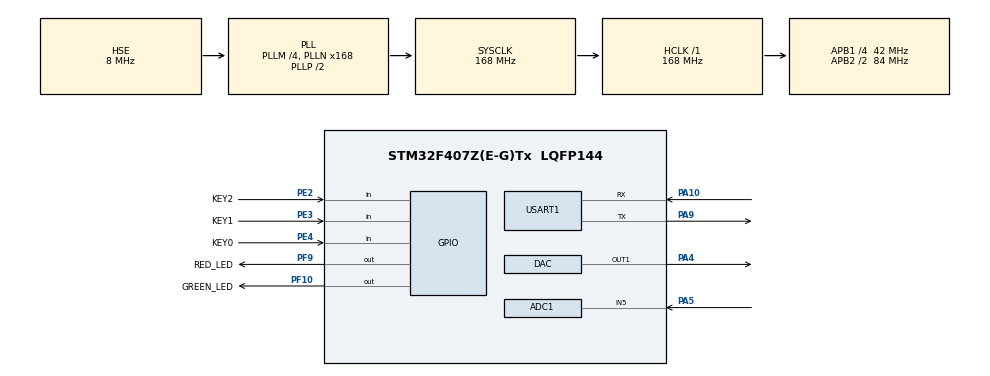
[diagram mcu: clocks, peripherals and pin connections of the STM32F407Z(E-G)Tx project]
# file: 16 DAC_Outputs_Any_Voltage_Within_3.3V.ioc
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ADC1.Channel-0\#ChannelRegularConversion=ADC_CHANNEL_5
ADC1.ExternalTrigConv=ADC_EXTERNALTRIGCONV_T3_TRGO
ADC1.NbrOfConversionFlag=1
ADC1.Rank-0\#ChannelRegularConversion=1
ADC1.SamplingTime-0\#ChannelRegularConversion=ADC_SAMPLETIME_15CYCLES
ADC1.master=1
DAC.DAC_Trigger=DAC_TRIGGER_NONE
Mcu.Family=STM32F4
Mcu.Name=STM32F407Z(E-G)Tx
Mcu.Package=LQFP144
NVIC.ADC_IRQn=true\:0\:0\:false\:false\:true\:true\:true\:true
NVIC.PriorityGroup=NVIC_PRIORITYGROUP_4
PA10.Mode=Asynchronous
PA10.Signal=USART1_RX
PA13.Mode=Serial_Wire
PA13.Signal=SYS_JTMS-SWDIO
PA14.Mode=Serial_Wire
PA14.Signal=SYS_JTCK-SWCLK
PA4.Signal=COMP_DAC1_group
PA5.Signal=ADCx_IN5
PA9.Mode=Asynchronous
PA9.Signal=USART1_TX
PC14-OSC32_IN.Mode=LSE-External-Oscillator
PC14-OSC32_IN.Signal=RCC_OSC32_IN
PC15-OSC32_OUT.Mode=LSE-External-Oscillator
PC15-OSC32_OUT.Signal=RCC_OSC32_OUT
PE2.GPIO_Label=KEY2
PE2.GPIO_PuPd=GPIO_PULLUP
PE2.Signal=GPIO_Input
PE3.GPIO_Label=KEY1
PE3.GPIO_PuPd=GPIO_PULLUP
PE3.Signal=GPIO_Input
PE4.GPIO_Label=KEY0
PE4.GPIO_PuPd=GPIO_PULLUP
PE4.Signal=GPIO_Input
PF10.GPIO_Label=GREEN_LED
PF10.PinState=GPIO_PIN_SET
PF10.Signal=GPIO_Output
PF9.GPIO_Label=RED_LED
PF9.GPIO_PuPd=GPIO_NOPULL
PF9.PinState=GPIO_PIN_SET
PF9.Signal=GPIO_Output
PH0-OSC_IN.Mode=HSE-External-Oscillator
PH0-OSC_IN.Signal=RCC_OSC_IN
PH1-OSC_OUT.Mode=HSE-External-Oscillator
PH1-OSC_OUT.Signal=RCC_OSC_OUT
ProjectManager.HeapSize=0x200
ProjectManager.StackSize=0x400
ProjectManager.TargetToolchain=MDK-ARM V5.32
RCC.48MHZClocksFreq_Value=84000000
RCC.AHBFreq_Value=168000000
RCC.APB1CLKDivider=RCC_HCLK_DIV4
RCC.APB1Freq_Value=42000000
RCC.APB1TimFreq_Value=84000000
RCC.APB2CLKDivider=RCC_HCLK_DIV2
RCC.APB2Freq_Value=84000000
RCC.APB2TimFreq_Value=168000000
RCC.CortexFreq_Value=168000000
RCC.HCLKFreq_Value=168000000
RCC.HSE_VALUE=8000000
RCC.HSI_VALUE=16000000
RCC.PLLM=4
RCC.PLLN=168
RCC.PLLSourceVirtual=RCC_PLLSOURCE_HSE
RCC.SYSCLKFreq_VALUE=168000000
RCC.SYSCLKSource=RCC_SYSCLKSOURCE_PLLCLK
RCC.VCOOutputFreq_Value=336000000
SH.ADCx_IN5.0=ADC1_IN5,IN5
SH.COMP_DAC1_group.0=DAC_OUT1,DAC_OUT1
TIM3.Period=999
TIM3.Prescaler=8399
TIM3.TIM_MasterOutputTrigger=TIM_TRGO_UPDATE
USART1.VirtualMode=VM_ASYNC
VP_TIM3_VS_ClockSourceINT.Mode=Internal
board=custom

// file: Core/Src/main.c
/* USER CODE BEGIN Header */
/**
  ******************************************************************************
  * @file           : main.c
  * @brief          : Main program body
  ******************************************************************************
  * @attention
  *
  * Copyright (c) 2023 STMicroelectronics.
  * All rights reserved.
  *
  * This software is licensed under terms that can be found in the LICENSE file
  * in the root directory of this software component.
  * If no LICENSE file comes with this software, it is provided AS-IS.
  *
  ******************************************************************************
  */
/* USER CODE END Header */
#include "main.h"
#include "adc.h"
#include "dac.h"
#include "tim.h"
#include "usart.h"
#include "gpio.h"

/* USER CODE BEGIN Includes */
#include "stdio.h"
/* USER CODE END Includes */

/* USER CODE BEGIN PM */

#ifdef __GNUC__
#define PUTCHAR_PROTOTYPE int __io_putchar(int ch)
#else
#define PUTCHAR_PROTOTYPE int fputc(int ch, FILE *f)
#endif
PUTCHAR_PROTOTYPE
{
      HAL_UART_Transmit(&huart1, (uint8_t *)&ch, 1, HAL_MAX_DELAY);
      return ch;
}
/* USER CODE END PM */

void SystemClock_Config(void);

int main(void)
{

  /* MCU Configuration--------------------------------------------------------*/

  /* Reset of all peripherals, Initializes the Flash interface and the Systick. */
  HAL_Init();

  /* Configure the system clock */
  SystemClock_Config();

  /* Initialize all configured peripherals */
  MX_GPIO_Init();
  MX_DAC_Init();
  MX_USART1_UART_Init();
  MX_ADC1_Init();
  MX_TIM3_Init();
  /* USER CODE BEGIN 2 */
	printf("Reset\r\n");
	HAL_DAC_Start(&hdac,DAC_CHANNEL_1);
	int32_t DacValue=1000;
	HAL_DAC_SetValue(&hdac,DAC_CHANNEL_1,DAC_ALIGN_12B_L,DacValue);
	HAL_ADC_Start_IT(&hadc1);
	HAL_TIM_Base_Start(&htim3);

  /* USER CODE END 2 */

  /* Infinite loop */
  while (1)
  {

    /* USER CODE BEGIN 3 */
		/*����KEY2������*/
		if(HAL_GPIO_ReadPin(KEY2_GPIO_Port,KEY2_Pin) == GPIO_PIN_RESET)
		{
			HAL_Delay(50);
			if(HAL_GPIO_ReadPin(KEY2_GPIO_Port,KEY2_Pin) == GPIO_PIN_RESET)
			{
				DacValue += 500;
				if(DacValue>4095) DacValue=4095;
				printf("---DacValue + 500, now DacValue is: %d---\r\n", DacValue);
				HAL_DAC_SetValue(&hdac,DAC_CHANNEL_1,DAC_ALIGN_12B_R,DacValue);
				while(!HAL_GPIO_ReadPin(KEY2_GPIO_Port,KEY2_Pin));
			}
		}

		/*����KEY0������*/
		if(HAL_GPIO_ReadPin(KEY0_GPIO_Port,KEY0_Pin) == GPIO_PIN_RESET)
		{
			HAL_Delay(50);
			if(HAL_GPIO_ReadPin(KEY0_GPIO_Port,KEY0_Pin) == GPIO_PIN_RESET)
			{
				DacValue -= 500;
				if(DacValue<0) DacValue=0;
				printf("---DacValue - 500, now DacValue is: %d---\r\n", DacValue);
				HAL_DAC_SetValue(&hdac,DAC_CHANNEL_1,DAC_ALIGN_12B_R,DacValue);
				while(!HAL_GPIO_ReadPin(KEY0_GPIO_Port,KEY0_Pin));
			}
		}
  }
  /* USER CODE END 3 */
}

void SystemClock_Config(void)
{
  RCC_OscInitTypeDef RCC_OscInitStruct = {0};
  RCC_ClkInitTypeDef RCC_ClkInitStruct = {0};

  /** Configure the main internal regulator output voltage
  */
  __HAL_RCC_PWR_CLK_ENABLE();
  __HAL_PWR_VOLTAGESCALING_CONFIG(PWR_REGULATOR_VOLTAGE_SCALE1);

  /** Initializes the RCC Oscillators according to the specified parameters
  * in the RCC_OscInitTypeDef structure.
  */
  RCC_OscInitStruct.OscillatorType = RCC_OSCILLATORTYPE_HSE;
  RCC_OscInitStruct.HSEState = RCC_HSE_ON;
  RCC_OscInitStruct.PLL.PLLState = RCC_PLL_ON;
  RCC_OscInitStruct.PLL.PLLSource = RCC_PLLSOURCE_HSE;
  RCC_OscInitStruct.PLL.PLLM = 4;
  RCC_OscInitStruct.PLL.PLLN = 168;
  RCC_OscInitStruct.PLL.PLLP = RCC_PLLP_DIV2;
  RCC_OscInitStruct.PLL.PLLQ = 4;
  if (HAL_RCC_OscConfig(&RCC_OscInitStruct) != HAL_OK)
  {
    Error_Handler();
  }

  /** Initializes the CPU, AHB and APB buses clocks
  */
  RCC_ClkInitStruct.ClockType = RCC_CLOCKTYPE_HCLK|RCC_CLOCKTYPE_SYSCLK
                              |RCC_CLOCKTYPE_PCLK1|RCC_CLOCKTYPE_PCLK2;
  RCC_ClkInitStruct.SYSCLKSource = RCC_SYSCLKSOURCE_PLLCLK;
  RCC_ClkInitStruct.AHBCLKDivider = RCC_SYSCLK_DIV1;
  RCC_ClkInitStruct.APB1CLKDivider = RCC_HCLK_DIV4;
  RCC_ClkInitStruct.APB2CLKDivider = RCC_HCLK_DIV2;

  if (HAL_RCC_ClockConfig(&RCC_ClkInitStruct, FLASH_LATENCY_5) != HAL_OK)
  {
    Error_Handler();
  }
}

void Error_Handler(void)
{
  __disable_irq();
  while (1)
  {
  }
}
